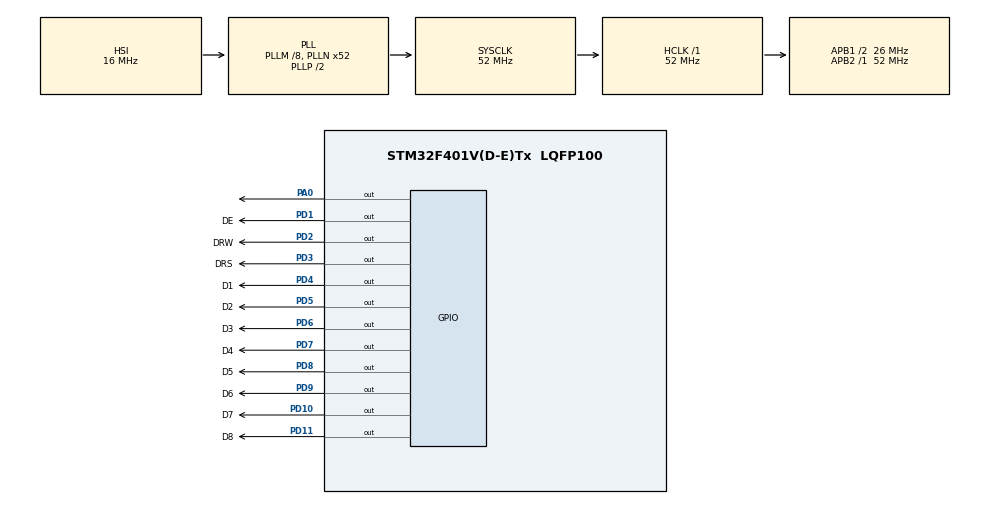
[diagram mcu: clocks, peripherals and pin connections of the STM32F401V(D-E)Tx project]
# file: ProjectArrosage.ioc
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Mcu.Family=STM32F4
Mcu.Name=STM32F401V(D-E)Tx
Mcu.Package=LQFP100
NVIC.PriorityGroup=NVIC_PRIORITYGROUP_4
PA0-WKUP.Signal=GPIO_Output
PD1.GPIO_Label=DE
PD1.GPIO_Speed=GPIO_SPEED_FREQ_MEDIUM
PD1.Signal=GPIO_Output
PD10.GPIO_Label=D7
PD10.GPIO_Speed=GPIO_SPEED_FREQ_MEDIUM
PD10.Signal=GPIO_Output
PD11.GPIO_Label=D8
PD11.GPIO_Speed=GPIO_SPEED_FREQ_MEDIUM
PD11.Signal=GPIO_Output
PD2.GPIO_Label=DRW
PD2.GPIO_Speed=GPIO_SPEED_FREQ_MEDIUM
PD2.Signal=GPIO_Output
PD3.GPIO_Label=DRS
PD3.GPIO_Speed=GPIO_SPEED_FREQ_MEDIUM
PD3.Signal=GPIO_Output
PD4.GPIO_Label=D1
PD4.GPIO_Speed=GPIO_SPEED_FREQ_MEDIUM
PD4.Signal=GPIO_Output
PD5.GPIO_Label=D2
PD5.GPIO_Speed=GPIO_SPEED_FREQ_MEDIUM
PD5.Signal=GPIO_Output
PD6.GPIO_Label=D3
PD6.GPIO_Speed=GPIO_SPEED_FREQ_MEDIUM
PD6.Signal=GPIO_Output
PD7.GPIO_Label=D4
PD7.GPIO_Speed=GPIO_SPEED_FREQ_MEDIUM
PD7.Signal=GPIO_Output
PD8.GPIO_Label=D5
PD8.GPIO_Speed=GPIO_SPEED_FREQ_MEDIUM
PD8.Signal=GPIO_Output
PD9.GPIO_Label=D6
PD9.GPIO_Speed=GPIO_SPEED_FREQ_MEDIUM
PD9.Signal=GPIO_Output
PH0\ -\ OSC_IN.Mode=HSE-External-Oscillator
PH0\ -\ OSC_IN.Signal=RCC_OSC_IN
PH1\ -\ OSC_OUT.Mode=HSE-External-Oscillator
PH1\ -\ OSC_OUT.Signal=RCC_OSC_OUT
ProjectManager.HeapSize=0x200
ProjectManager.StackSize=0x400
ProjectManager.TargetToolchain=STM32CubeIDE
RCC.48MHZClocksFreq_Value=26000000
RCC.AHBFreq_Value=52000000
RCC.APB1CLKDivider=RCC_HCLK_DIV2
RCC.APB1Freq_Value=26000000
RCC.APB1TimFreq_Value=52000000
RCC.APB2Freq_Value=52000000
RCC.APB2TimFreq_Value=52000000
RCC.CortexFreq_Value=52000000
RCC.HCLKFreq_Value=52000000
RCC.HSE_VALUE=8000000
RCC.HSI_VALUE=16000000
RCC.LSE_VALUE=32768
RCC.PLLM=8
RCC.PLLN=52
RCC.SYSCLKFreq_VALUE=52000000
RCC.SYSCLKSource=RCC_SYSCLKSOURCE_PLLCLK
RCC.VCOOutputFreq_Value=104000000
board=custom

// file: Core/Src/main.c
/* USER CODE BEGIN Header */
/**
  ******************************************************************************
  * @file           : main.c
  * @brief          : Main program body
  ******************************************************************************
  * @attention
  *
  * <h2><center>&copy; Copyright (c) 2021 STMicroelectronics.
  * All rights reserved.</center></h2>
  *
  * This software component is licensed by ST under BSD 3-Clause license,
  * the "License"; You may not use this file except in compliance with the
  * License. You may obtain a copy of the License at:
  *                        opensource.org/licenses/BSD-3-Clause
  *
  ******************************************************************************
  */
/* USER CODE END Header */
#include "main.h"
#include <stdio.h>

/* USER CODE BEGIN Includes */
#include "i2c-lcd.h"

/* USER CODE END Includes */

/* USER CODE BEGIN PD */

void delay (uint16_t time)
{
	/* change your code here for the delay in microseconds */
//	__HAL_TIM_SET_COUNTER(&htim6, 0);
//	while ((__HAL_TIM_GET_COUNTER(&htim6))<time);

}

void Display_Temp (float Temp)
{
	char str[20] = {0};
//	lcd_put_cur(0, 0);

	sprintf (str, "TEMP:- %.2f ", Temp);
//	lcd_send_string(str);
//	lcd_send_data('C');
}

void Display_Rh (float Rh)
{
	char str[20] = {0};
//	lcd_put_cur(1, 0);

	sprintf (str, "RH:- %.2f ", Rh);
//	lcd_send_string(str);
//	lcd_send_data('%');
}

uint8_t Rh_byte1, Rh_byte2, Temp_byte1, Temp_byte2;
uint16_t SUM, RH, TEMP;

float Temperature = 0;
float Humidity = 0;
uint8_t Presence = 0;

void Set_Pin_Output (GPIO_TypeDef *GPIOx, uint16_t GPIO_Pin)
{
	GPIO_InitTypeDef GPIO_InitStruct = {0};
	GPIO_InitStruct.Pin = GPIO_Pin;
	GPIO_InitStruct.Mode = GPIO_MODE_OUTPUT_PP;
	GPIO_InitStruct.Speed = GPIO_SPEED_FREQ_LOW;
	HAL_GPIO_Init(GPIOx, &GPIO_InitStruct);
}

void Set_Pin_Input (GPIO_TypeDef *GPIOx, uint16_t GPIO_Pin)
{
	GPIO_InitTypeDef GPIO_InitStruct = {0};
	GPIO_InitStruct.Pin = GPIO_Pin;
	GPIO_InitStruct.Mode = GPIO_MODE_INPUT;
	GPIO_InitStruct.Pull = GPIO_PULLUP;
	HAL_GPIO_Init(GPIOx, &GPIO_InitStruct);
}

/*********************************** DHT11 FUNCTIONS ********************************************/

#define DHT11_PORT GPIOA
#define DHT11_PIN GPIO_PIN_1

void DHT11_Start (void)
{
	Set_Pin_Output (DHT11_PORT, DHT11_PIN);  // set the pin as output
	HAL_GPIO_WritePin (DHT11_PORT, DHT11_PIN, 0);   // pull the pin low
	delay (18000);   // wait for 18ms
    HAL_GPIO_WritePin (DHT11_PORT, DHT11_PIN, 1);   // pull the pin high
	delay (20);   // wait for 20us
	Set_Pin_Input(DHT11_PORT, DHT11_PIN);    // set as input
}

uint8_t DHT11_Check_Response (void)
{
	uint8_t Response = 0;
	delay (40);
	if (!(HAL_GPIO_ReadPin (DHT11_PORT, DHT11_PIN)))
	{
		delay (80);
		if ((HAL_GPIO_ReadPin (DHT11_PORT, DHT11_PIN))) Response = 1;
		else Response = -1; // 255
	}
	while ((HAL_GPIO_ReadPin (DHT11_PORT, DHT11_PIN)));   // wait for the pin to go low

	return Response;
}

uint8_t DHT11_Read (void)
{
	uint8_t i,j;
	for (j=0;j<8;j++)
	{
		while (!(HAL_GPIO_ReadPin (DHT11_PORT, DHT11_PIN)));   // wait for the pin to go high
		delay (40);   // wait for 40 us
		if (!(HAL_GPIO_ReadPin (DHT11_PORT, DHT11_PIN)))   // if the pin is low
		{
			i&= ~(1<<(7-j));   // write 0
		}
		else i|= (1<<(7-j));  // if the pin is high, write 1
		while ((HAL_GPIO_ReadPin (DHT11_PORT, DHT11_PIN)));  // wait for the pin to go low
	}
	return i;
}
/* USER CODE END PD */

void SystemClock_Config(void);
static void MX_GPIO_Init(void);

int main(void)
{

  /* MCU Configuration--------------------------------------------------------*/

  /* Reset of all peripherals, Initializes the Flash interface and the Systick. */
  HAL_Init();

  /* Configure the system clock */
  SystemClock_Config();

  /* Initialize all configured peripherals */
  MX_GPIO_Init();
  /* USER CODE BEGIN 2 */
  lcd_init(_LCD_4BIT,_LCD_FONT_5x10, _LCD_2LINE);
   lcd_print(1, 1, "Bonjour Temperature");
   lcd_print(2, 1, "Bonjour humudite");

   	  int i =0;
   	  char yazi[32]=" ";
   HAL_Delay(500);

  /* USER CODE END 2 */

  /* Infinite loop */
  /* USER CODE BEGIN WHILE */
  while (1)
  {

	  Display_Temp(Temperature);
	  Display_Rh(Humidity);

	  if (Humidity<25 && Temperature>25) {

	 	  /********************** DHT11 *********************/
		  HAL_GPIO_WritePin(GPIOA,GPIO_PIN_0, GPIO_PIN_SET);
		  HAL_GPIO_WritePin(GPIOA,GPIO_PIN_6, GPIO_PIN_RESET);
		  HAL_Delay(500);
	      DHT11_Start();
	 	  Presence = DHT11_Check_Response();
	 	  Rh_byte1 = DHT11_Read ();
	 	  Rh_byte2 = DHT11_Read ();
	 	  Temp_byte1 = DHT11_Read ();
	 	  Temp_byte2 = DHT11_Read ();
	 	  SUM = DHT11_Read();

	 	  TEMP = Temp_byte1;
	 	  RH = Rh_byte1;

	 	  Temperature = (float) TEMP;
	 	  Humidity = (float) RH;

	 	  HAL_Delay (1000);

	      /* USER CODE END WHILE */

	      /* USER CODE BEGIN 3 */
	  	i++;
	  	sprintf(yazi,"%d",i);
	  	lcd_print(1, 1, yazi);
	  	HAL_Delay(30);

	}else{

 	  	HAL_GPIO_WritePin(GPIOA,GPIO_PIN_0, GPIO_PIN_RESET);
 	  	HAL_GPIO_WritePin(GPIOA,GPIO_PIN_6, GPIO_PIN_SET);
 	  	HAL_Delay(500);

 	  	i--;
		sprintf(yazi,"%d",i);
		lcd_print(1, 1, yazi);
		HAL_Delay(30);

	}

  }
  /* USER CODE END 3 */
}

void SystemClock_Config(void)
{
  RCC_OscInitTypeDef RCC_OscInitStruct = {0};
  RCC_ClkInitTypeDef RCC_ClkInitStruct = {0};

  /** Configure the main internal regulator output voltage
  */
  __HAL_RCC_PWR_CLK_ENABLE();
  __HAL_PWR_VOLTAGESCALING_CONFIG(PWR_REGULATOR_VOLTAGE_SCALE2);
  /** Initializes the RCC Oscillators according to the specified parameters
  * in the RCC_OscInitTypeDef structure.
  */
  RCC_OscInitStruct.OscillatorType = RCC_OSCILLATORTYPE_HSI;
  RCC_OscInitStruct.HSIState = RCC_HSI_ON;
  RCC_OscInitStruct.HSICalibrationValue = RCC_HSICALIBRATION_DEFAULT;
  RCC_OscInitStruct.PLL.PLLState = RCC_PLL_ON;
  RCC_OscInitStruct.PLL.PLLSource = RCC_PLLSOURCE_HSI;
  RCC_OscInitStruct.PLL.PLLM = 8;
  RCC_OscInitStruct.PLL.PLLN = 52;
  RCC_OscInitStruct.PLL.PLLP = RCC_PLLP_DIV2;
  RCC_OscInitStruct.PLL.PLLQ = 4;
  if (HAL_RCC_OscConfig(&RCC_OscInitStruct) != HAL_OK)
  {
    Error_Handler();
  }
  /** Initializes the CPU, AHB and APB buses clocks
  */
  RCC_ClkInitStruct.ClockType = RCC_CLOCKTYPE_HCLK|RCC_CLOCKTYPE_SYSCLK
                              |RCC_CLOCKTYPE_PCLK1|RCC_CLOCKTYPE_PCLK2;
  RCC_ClkInitStruct.SYSCLKSource = RCC_SYSCLKSOURCE_PLLCLK;
  RCC_ClkInitStruct.AHBCLKDivider = RCC_SYSCLK_DIV1;
  RCC_ClkInitStruct.APB1CLKDivider = RCC_HCLK_DIV2;
  RCC_ClkInitStruct.APB2CLKDivider = RCC_HCLK_DIV1;

  if (HAL_RCC_ClockConfig(&RCC_ClkInitStruct, FLASH_LATENCY_1) != HAL_OK)
  {
    Error_Handler();
  }
}

static void MX_GPIO_Init(void)
{
  GPIO_InitTypeDef GPIO_InitStruct = {0};

  /* GPIO Ports Clock Enable */
  __HAL_RCC_GPIOH_CLK_ENABLE();
  __HAL_RCC_GPIOA_CLK_ENABLE();
  __HAL_RCC_GPIOD_CLK_ENABLE();

  /*Configure GPIO pin Output Level */
  HAL_GPIO_WritePin(GPIOA, GPIO_PIN_0, GPIO_PIN_RESET);

  /*Configure GPIO pin Output Level */
  HAL_GPIO_WritePin(GPIOD, D5_Pin|D6_Pin|D7_Pin|D8_Pin
                          |DE_Pin|DRW_Pin|DRS_Pin|D1_Pin
                          |D2_Pin|D3_Pin|D4_Pin, GPIO_PIN_RESET);

  /*Configure GPIO pin : PA0 */
  GPIO_InitStruct.Pin = GPIO_PIN_0;
  GPIO_InitStruct.Mode = GPIO_MODE_OUTPUT_PP;
  GPIO_InitStruct.Pull = GPIO_NOPULL;
  GPIO_InitStruct.Speed = GPIO_SPEED_FREQ_LOW;
  HAL_GPIO_Init(GPIOA, &GPIO_InitStruct);

  /*Configure GPIO pins : D5_Pin D6_Pin D7_Pin D8_Pin
                           DE_Pin DRW_Pin DRS_Pin D1_Pin
                           D2_Pin D3_Pin D4_Pin */
  GPIO_InitStruct.Pin = D5_Pin|D6_Pin|D7_Pin|D8_Pin
                          |DE_Pin|DRW_Pin|DRS_Pin|D1_Pin
                          |D2_Pin|D3_Pin|D4_Pin;
  GPIO_InitStruct.Mode = GPIO_MODE_OUTPUT_PP;
  GPIO_InitStruct.Pull = GPIO_NOPULL;
  GPIO_InitStruct.Speed = GPIO_SPEED_FREQ_MEDIUM;
  HAL_GPIO_Init(GPIOD, &GPIO_InitStruct);

}

void Error_Handler(void)
{
  __disable_irq();
  while (1)
  {
  }
}

/************************ (C) COPYRIGHT STMicroelectronics *****END OF FILE****/
